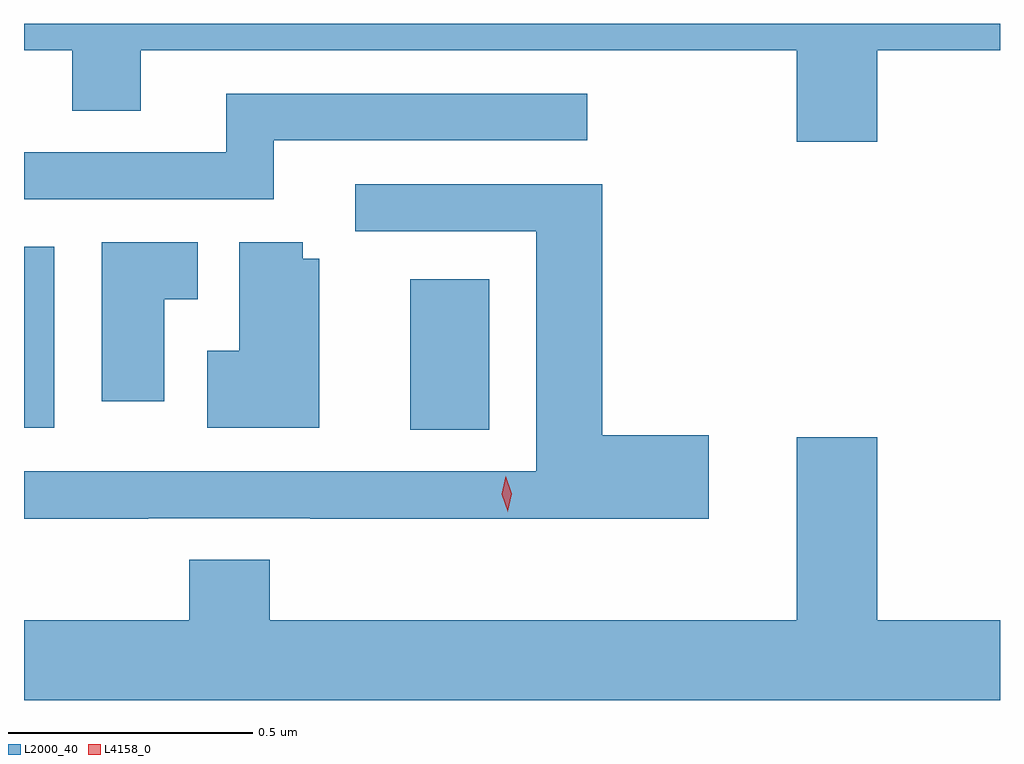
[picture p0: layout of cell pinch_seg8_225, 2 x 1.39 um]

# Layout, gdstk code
import gdstk
lib = gdstk.Library(unit=1e-6, precision=1e-09)
def R(c, l, rs):  # rectangles x0, y0, x1, y1
    for r in rs: c.add(gdstk.rectangle(r[:2], r[2:], *l))
def P(c, l, *ps):  # polygons
    for p in ps: c.add(gdstk.Polygon(p, *l))
L2000_40 = (2000, 40)
L4158_0 = (4158, 0)

pinch_seg8_225 = lib.new_cell('pinch_seg8_225')
R(pinch_seg8_225, L2000_40, [(667.712,1103.734,667.873,1104.043), (666.92,1103.738,666.982,1104.109)])
P(pinch_seg8_225, L2000_40, [(668.668,1104.512),(668.92,1104.512),(668.92,1104.566),(666.92,1104.566),(666.92,1104.512),(667.019,1104.512),(667.019,1104.388),(667.159,1104.388),(667.159,1104.512),(668.504,1104.512),(668.504,1104.324),(668.668,1104.324)],
  [(667.432,1104.327),(668.074,1104.327),(668.074,1104.423),(667.334,1104.423),(667.334,1104.303),(666.92,1104.303),(666.92,1104.207),(667.432,1104.207)],
  [(667.175,1103.553),(667.507,1103.553),(667.507,1103.552),(668.323,1103.552),(668.323,1103.723),(668.105,1103.723),(668.105,1104.237),(667.599,1104.237),(667.599,1104.141),(667.97,1104.141),(667.97,1103.649),(666.92,1103.649),(666.92,1103.552),(667.175,1103.552)],
  [(667.525,1104.085),(667.491,1104.085),(667.491,1104.118),(667.361,1104.118),(667.361,1103.896),(667.296,1103.896),(667.296,1103.738),(667.525,1103.738)],
  [(667.207,1104.002),(667.276,1104.002),(667.276,1104.118),(667.079,1104.118),(667.079,1103.793),(667.207,1103.793)],
  [(668.92,1103.344),(668.668,1103.344),(668.668,1103.719),(668.504,1103.719),(668.504,1103.344),(667.424,1103.344),(667.424,1103.468),(667.259,1103.468),(667.259,1103.344),(666.92,1103.344),(666.92,1103.18),(668.92,1103.18)])
P(pinch_seg8_225, L4158_0, [(667.911,1103.566),(667.911,1103.567),(667.899,1103.602),(667.907,1103.639),(667.907,1103.639),(667.907,1103.639),(667.919,1103.603),(667.911,1103.567)])

lib.write_gds('pinch_seg8_225.gds')
